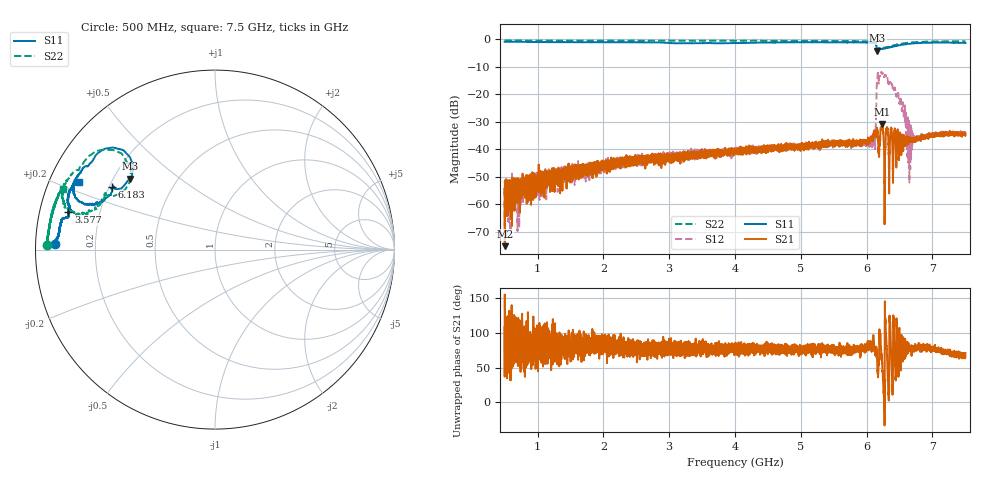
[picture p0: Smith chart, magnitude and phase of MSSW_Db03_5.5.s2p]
!Keysight Technologies,M9374A,MY55442783,A.12.55.05
!Date: Wednesday, May 19, 2021 15:58:35
!Correction: S11(Full 2 Port(1,2))
!S21(Full 2 Port(1,2))
!S12(Full 2 Port(1,2))
!S22(Full 2 Port(1,2))
!S2P File: Measurements: S11, S21, S12, S22:
# Hz S  RI  R 50
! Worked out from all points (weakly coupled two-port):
!   7001 points, 500 MHz to 7.5 GHz, reference 50 ohm
!   highest |S21| = -30.78 dB at 6.236 GHz (marker M1); lowest = -75.1 dB at 503 MHz (marker M2)
!   lowest |S11| = -4.2 dB at 6.162 GHz (marker M3), VSWR 4.23, Z = 13.3 + j16.9 ohm
!   |S11| at or under -10 dB: nowhere
!   |S22| runs from -4.4 to -0.5 dB; largest |S21 - S12| = 0.25
!   S11 on the Smith chart (normalised r, x): 500 MHz: 0.06, +0.02; 3.577 GHz: 0.09, +0.13; 6.183 GHz: 0.21, +0.27; 7.5 GHz: 0.09, +0.23
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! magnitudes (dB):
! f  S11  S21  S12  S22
! 500 MHz  -1.0  -56.3  -58.7  -0.6
! 503 MHz  -1.0  -75.1  -56.8  -0.6
! 882 MHz  -1.1  -56.4  -54.4  -0.6
! 1.667 GHz  -1.2  -50.2  -47.1  -0.6
! 2.834 GHz  -1.2  -42.6  -42.2  -0.6
! 3.577 GHz  -1.5  -40.6  -42.0  -0.7
! 4 GHz  -1.5  -41.2  -39.6  -0.7
! 5.167 GHz  -1.2  -38.3  -38.1  -0.7
! 6.065 GHz  -1.3  -35.8  -36.4  -1.0
! 6.112 GHz  -1.5  -33.6  -33.9  -1.1
! 6.162 GHz  -4.2  -32.9  -14.0  -4.3
! 6.183 GHz  -3.5  -39.1  -16.2  -3.2
! 6.236 GHz  -3.7  -30.8  -12.2  -3.3
! 6.26 GHz  -3.5  -37.6  -13.2  -3.2
! 6.334 GHz  -3.1  -41.0  -15.9  -2.7
! 6.37 GHz  -3.0  -32.5  -15.4  -2.7
! 6.395 GHz  -2.8  -42.4  -18.0  -2.4
! 6.424 GHz  -2.6  -33.3  -17.5  -2.3
! 6.446 GHz  -2.5  -43.9  -20.1  -2.1
! 6.548 GHz  -2.1  -36.7  -22.9  -1.6
! 6.682 GHz  -1.6  -36.7  -37.2  -1.2
! 7.5 GHz  -1.4  -34.7  -34.3  -0.8
